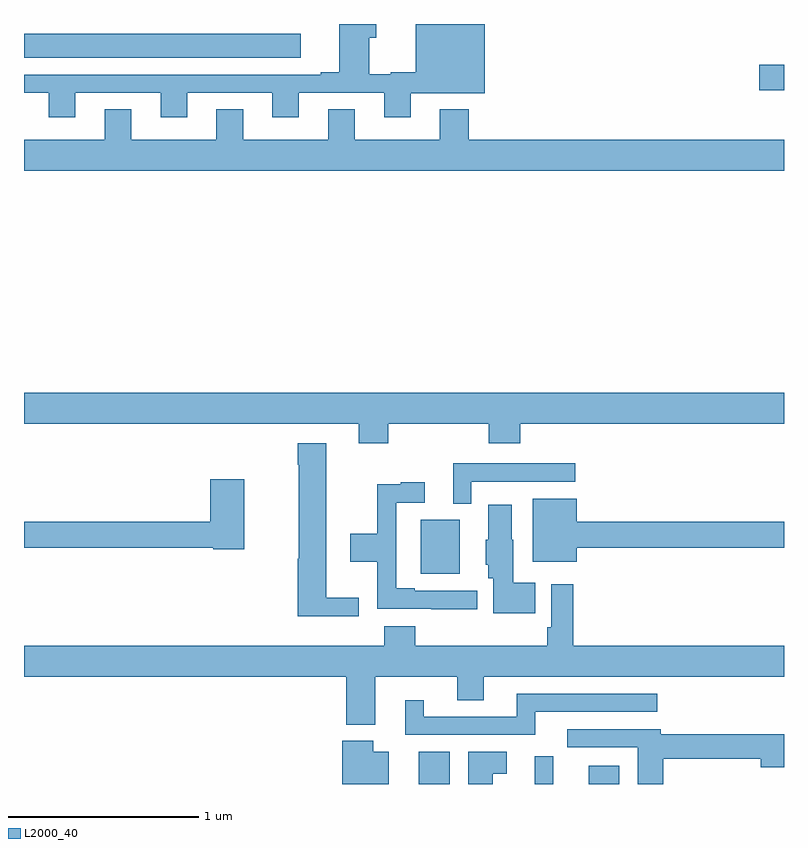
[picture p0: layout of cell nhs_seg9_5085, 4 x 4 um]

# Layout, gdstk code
import gdstk
lib = gdstk.Library(unit=1e-6, precision=1e-09)
def R(c, l, rs):  # rectangles x0, y0, x1, y1
    for r in rs: c.add(gdstk.rectangle(r[:2], r[2:], *l))
def P(c, l, *ps):  # polygons
    for p in ps: c.add(gdstk.Polygon(p, *l))
L2000_40 = (2000, 40)

nhs_seg9_5085 = lib.new_cell('nhs_seg9_5085')
R(nhs_seg9_5085, L2000_40, [(407.078,1218.5,407.242,1218.67), (407.687,1218.5,407.786,1218.646), (407.972,1218.5,408.133,1218.595), (407.087,1219.607,407.293,1219.891), (408.87,1222.151,409,1222.286), (405,1222.322,406.456,1222.45)])
P(nhs_seg9_5085, L2000_40, [(405.271,1222.137),(405.719,1222.137),(405.719,1222.008),(405.859,1222.008),(405.859,1222.137),(406.307,1222.137),(406.307,1222.008),(406.447,1222.008),(406.447,1222.137),(406.895,1222.137),(406.895,1222.008),(407.035,1222.008),(407.035,1222.136),(407.425,1222.136),(407.425,1222.5),(407.063,1222.5),(407.063,1222.246),(406.931,1222.246),(406.931,1222.235),(406.816,1222.235),(406.816,1222.427),(406.855,1222.427),(406.855,1222.5),(406.658,1222.5),(406.658,1222.246),(406.562,1222.246),(406.562,1222.233),(405,1222.233),(405,1222.137),(405.131,1222.137),(405.131,1222.008),(405.271,1222.008)],
  [(409,1221.892),(407.342,1221.892),(407.342,1222.051),(407.189,1222.051),(407.189,1221.892),(406.741,1221.892),(406.741,1222.052),(406.601,1222.052),(406.601,1221.892),(406.153,1221.892),(406.153,1222.052),(406.013,1222.052),(406.013,1221.892),(405.565,1221.892),(405.565,1222.052),(405.425,1222.052),(405.425,1221.892),(405,1221.892),(405,1221.728),(409,1221.728)],
  [(406.916,1220.396),(407.447,1220.396),(407.447,1220.294),(407.612,1220.294),(407.612,1220.396),(409,1220.396),(409,1220.56),(405,1220.56),(405,1220.396),(406.763,1220.396),(406.763,1220.294),(406.916,1220.294)],
  [(406.762,1219.481),(406.591,1219.481),(406.591,1220.293),(406.442,1220.293),(406.442,1220.18),(406.447,1220.18),(406.447,1219.686),(406.442,1219.686),(406.442,1219.382),(406.762,1219.382)],
  [(407.355,1220.091),(407.902,1220.091),(407.902,1220.187),(407.258,1220.187),(407.258,1219.976),(407.355,1219.976)],
  [(406.158,1220.104),(405.98,1220.104),(405.98,1219.88),(405,1219.88),(405,1219.744),(405.996,1219.744),(405.996,1219.736),(406.158,1219.736)],
  [(407.386,1219.518),(407.056,1219.518),(407.056,1219.531),(406.959,1219.531),(406.959,1219.98),(407.11,1219.98),(407.11,1220.089),(406.982,1220.089),(406.982,1220.078),(406.858,1220.078),(406.858,1219.818),(406.716,1219.818),(406.716,1219.67),(406.858,1219.67),(406.858,1219.422),(407.143,1219.422),(407.143,1219.421),(407.386,1219.421)],
  [(407.908,1219.744),(409,1219.744),(409,1219.88),(407.908,1219.88),(407.908,1220.002),(407.678,1220.002),(407.678,1219.67),(407.908,1219.67)],
  [(407.69,1219.558),(407.575,1219.558),(407.575,1219.785),(407.566,1219.785),(407.566,1219.969),(407.444,1219.969),(407.444,1219.785),(407.429,1219.785),(407.429,1219.653),(407.444,1219.653),(407.444,1219.584),(407.471,1219.584),(407.471,1219.4),(407.69,1219.4)],
  [(406.849,1219.064),(407.279,1219.064),(407.279,1218.94),(407.419,1218.94),(407.419,1219.064),(409,1219.064),(409,1219.228),(407.891,1219.228),(407.891,1219.552),(407.775,1219.552),(407.775,1219.324),(407.755,1219.324),(407.755,1219.228),(407.06,1219.228),(407.06,1219.33),(406.895,1219.33),(406.895,1219.228),(405,1219.228),(405,1219.064),(406.697,1219.064),(406.697,1218.812),(406.849,1218.812)],
  [(407.692,1218.879),(408.334,1218.879),(408.334,1218.975),(407.594,1218.975),(407.594,1218.855),(407.104,1218.855),(407.104,1218.94),(407.006,1218.94),(407.006,1218.759),(407.692,1218.759)],
  [(408.365,1218.634),(408.878,1218.634),(408.878,1218.587),(409,1218.587),(409,1218.763),(408.352,1218.763),(408.352,1218.789),(407.859,1218.789),(407.859,1218.693),(408.23,1218.693),(408.23,1218.5),(408.365,1218.5)],
  [(406.921,1218.67),(406.837,1218.67),(406.837,1218.727),(406.676,1218.727),(406.676,1218.5),(406.921,1218.5)],
  [(407.467,1218.554),(407.542,1218.554),(407.542,1218.67),(407.339,1218.67),(407.339,1218.5),(407.467,1218.5)])

lib.write_gds('nhs_seg9_5085.gds')
